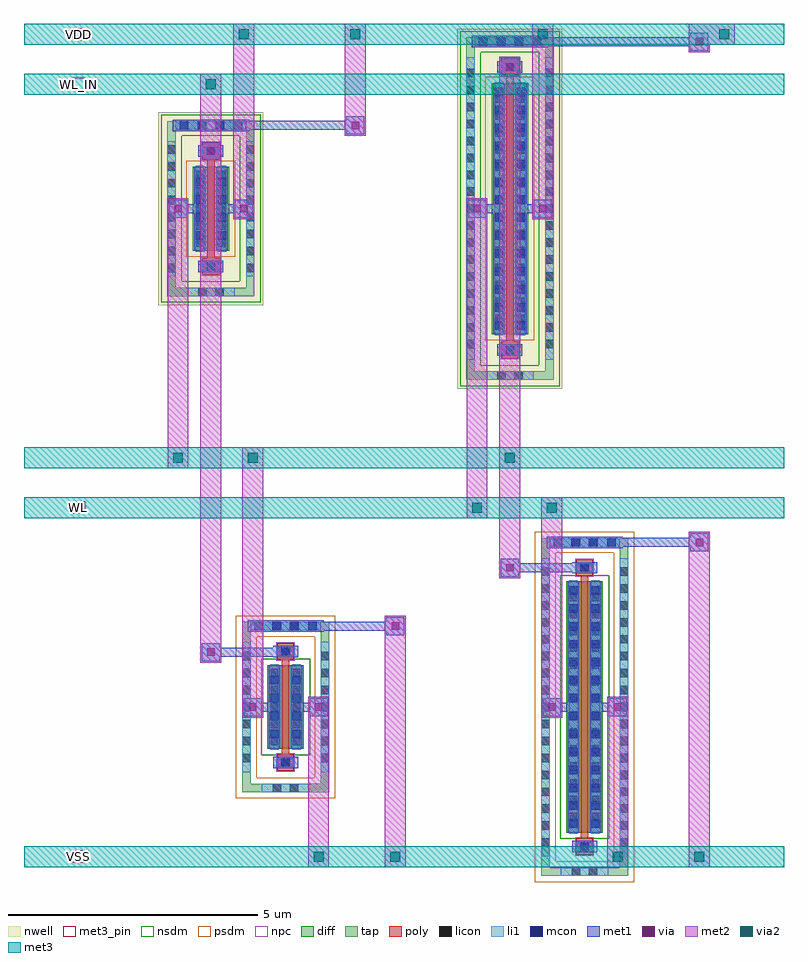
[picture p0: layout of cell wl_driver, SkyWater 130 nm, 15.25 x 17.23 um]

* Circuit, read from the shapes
.subckt wl_driver VDD VSS WL WL_IN
XM1 VSS WL_IN n1 VSS sky130_fd_pr__nfet_01v8 w=1.68 l=0.15
XM2 VSS n1 WL VSS sky130_fd_pr__nfet_01v8 w=5.04 l=0.15
XM3 VDD WL_IN n1 VDD sky130_fd_pr__pfet_01v8 w=1.68 l=0.15
XM4 VDD n1 WL VDD sky130_fd_pr__pfet_01v8 w=5.04 l=0.15
.ends

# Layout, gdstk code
import gdstk
lib = gdstk.Library(unit=1e-6, precision=1e-09)
def R(c, l, rs):  # rectangles x0, y0, x1, y1
    for r in rs: c.add(gdstk.rectangle(r[:2], r[2:], *l))
def A(c, l, x, y, w, h, nx, ny, dx, dy):  # array of equal rectangles
    R(c, l, [(x+i*dx, y+j*dy, x+i*dx+w, y+j*dy+h) for i in range(nx) for j in range(ny)])
nwell = (64, 20)
diff = (65, 20)
tap = (65, 44)
poly = (66, 20)
licon = (66, 44)
li1 = (67, 20)
mcon = (67, 44)
met1 = (68, 20)
via = (68, 44)
met2 = (69, 20)
via2 = (69, 44)
met3_pin = (70, 16)
met3 = (70, 20)
nsdm = (93, 44)
psdm = (94, 20)
npc = (95, 20)

wl_driver = lib.new_cell('wl_driver')
R(wl_driver, nwell, [(6.445,-8.615,8.555,-1.385), (0.445,-6.935,2.555,-3.065)])
R(wl_driver, diff, [(8.635,-17.52,9.365,-12.48), (2.635,-15.84,3.365,-14.16), (7.135,-7.52,7.865,-2.48), (1.135,-5.84,1.865,-4.16)])
R(wl_driver, tap, [(8.125,-18.39,9.875,-18.22), (8.125,-18.22,8.295,-11.78), (9.705,-18.22,9.875,-11.78), (2.125,-16.71,3.875,-16.54), (2.125,-16.54,2.295,-13.46), (3.705,-16.54,3.875,-13.46), (2.125,-13.46,3.875,-13.29), (8.125,-11.78,9.875,-11.61), (6.625,-8.435,8.375,-8.265), (6.625,-8.265,6.795,-1.735), (8.205,-8.265,8.375,-1.735), (0.625,-6.755,2.375,-6.585), (0.625,-6.585,0.795,-3.415), (2.205,-6.585,2.375,-3.415), (0.625,-3.415,2.375,-3.245), (6.625,-1.735,8.375,-1.565)])
R(wl_driver, poly, [(8.835,-17.96,9.165,-17.63), (8.925,-17.63,9.075,-12.37), (2.835,-16.28,3.165,-15.95), (2.925,-15.95,3.075,-14.05), (2.835,-14.05,3.165,-13.72), (8.835,-12.37,9.165,-12.04), (7.335,-8.005,7.665,-7.675), (7.425,-7.675,7.575,-2.325), (1.335,-6.325,1.665,-5.995), (1.425,-5.995,1.575,-4.005), (1.335,-4.005,1.665,-3.675), (7.335,-2.325,7.665,-1.995)])
A(wl_driver, licon, 8.125, -17.805, 0.17, 0.17, 1, 17, 0, 0.34)
A(wl_driver, licon, 9.705, -17.805, 0.17, 0.17, 1, 17, 0, 0.34)
A(wl_driver, licon, 8.695, -17.295, 0.17, 0.17, 1, 14, 0, 0.34)
A(wl_driver, licon, 9.135, -17.295, 0.17, 0.17, 1, 14, 0, 0.34)
A(wl_driver, licon, 2.125, -16.105, 0.17, 0.17, 1, 7, 0, 0.34)
A(wl_driver, licon, 3.705, -16.105, 0.17, 0.17, 1, 7, 0, 0.34)
A(wl_driver, licon, 2.695, -15.765, 0.17, 0.17, 1, 5, 0, 0.34)
A(wl_driver, licon, 3.135, -15.765, 0.17, 0.17, 1, 5, 0, 0.34)
A(wl_driver, licon, 6.625, -7.805, 0.17, 0.17, 1, 17, 0, 0.34)
A(wl_driver, licon, 8.205, -7.805, 0.17, 0.17, 1, 17, 0, 0.34)
A(wl_driver, licon, 7.195, -7.295, 0.17, 0.17, 1, 14, 0, 0.34)
A(wl_driver, licon, 7.635, -7.295, 0.17, 0.17, 1, 14, 0, 0.34)
A(wl_driver, licon, 0.625, -6.275, 0.17, 0.17, 1, 8, 0, 0.34)
A(wl_driver, licon, 2.205, -6.275, 0.17, 0.17, 1, 8, 0, 0.34)
A(wl_driver, licon, 1.195, -5.765, 0.17, 0.17, 1, 5, 0, 0.34)
A(wl_driver, licon, 1.635, -5.765, 0.17, 0.17, 1, 5, 0, 0.34)
R(wl_driver, licon, [(8.745,-18.39,8.915,-18.22), (9.085,-18.39,9.255,-18.22), (8.915,-17.88,9.085,-17.71), (2.745,-16.71,2.915,-16.54), (3.085,-16.71,3.255,-16.54), (2.915,-16.2,3.085,-16.03), (2.915,-13.97,3.085,-13.8), (2.745,-13.46,2.915,-13.29), (3.085,-13.46,3.255,-13.29), (8.915,-12.29,9.085,-12.12), (8.745,-11.78,8.915,-11.61), (9.085,-11.78,9.255,-11.61), (7.245,-8.435,7.415,-8.265), (7.585,-8.435,7.755,-8.265), (7.415,-7.925,7.585,-7.755), (1.245,-6.755,1.415,-6.585), (1.585,-6.755,1.755,-6.585), (1.415,-6.245,1.585,-6.075), (1.415,-3.925,1.585,-3.755), (1.245,-3.415,1.415,-3.245), (1.585,-3.415,1.755,-3.245), (7.415,-2.245,7.585,-2.075), (7.245,-1.735,7.415,-1.565), (7.585,-1.735,7.755,-1.565)])
R(wl_driver, li1, [(8.525,-18.39,9.475,-18.22), (8.125,-17.99,8.295,-12.01), (9.705,-17.99,9.875,-12.01), (8.835,-17.88,9.165,-17.71), (8.695,-17.54,8.865,-12.46), (9.135,-17.54,9.305,-12.46), (2.525,-16.71,3.475,-16.54), (2.125,-16.31,2.295,-13.69), (3.705,-16.31,3.875,-13.69), (2.835,-16.2,3.165,-16.03), (2.695,-15.86,2.865,-14.14), (3.135,-15.86,3.305,-14.14), (2.835,-13.97,3.165,-13.8), (2.295,-13.46,3.705,-13.29), (8.835,-12.29,9.165,-12.12), (8.295,-11.78,9.705,-11.61), (7.025,-8.435,7.975,-8.265), (6.625,-8.035,6.795,-1.965), (8.205,-8.035,8.375,-1.965), (7.335,-7.925,7.665,-7.755), (7.195,-7.54,7.365,-2.46), (7.635,-7.54,7.805,-2.46), (1.025,-6.755,1.975,-6.585), (0.625,-6.355,0.795,-3.645), (2.205,-6.355,2.375,-3.645), (1.335,-6.245,1.665,-6.075), (1.195,-5.86,1.365,-4.14), (1.635,-5.86,1.805,-4.14), (1.335,-3.925,1.665,-3.755), (0.795,-3.415,2.205,-3.245), (7.335,-2.245,7.665,-2.075), (6.795,-1.735,8.205,-1.565)])
A(wl_driver, mcon, 8.695, -17.425, 0.17, 0.17, 1, 14, 0, 0.36)
A(wl_driver, mcon, 9.135, -17.425, 0.17, 0.17, 1, 14, 0, 0.36)
A(wl_driver, mcon, 2.695, -15.625, 0.17, 0.17, 1, 4, 0, 0.36)
A(wl_driver, mcon, 3.135, -15.625, 0.17, 0.17, 1, 4, 0, 0.36)
A(wl_driver, mcon, 2.375, -13.46, 0.17, 0.17, 4, 1, 0.36, 0)
A(wl_driver, mcon, 8.375, -11.78, 0.17, 0.17, 4, 1, 0.36, 0)
A(wl_driver, mcon, 7.195, -7.425, 0.17, 0.17, 1, 14, 0, 0.36)
A(wl_driver, mcon, 7.635, -7.425, 0.17, 0.17, 1, 14, 0, 0.36)
A(wl_driver, mcon, 1.195, -5.625, 0.17, 0.17, 1, 4, 0, 0.36)
A(wl_driver, mcon, 1.635, -5.625, 0.17, 0.17, 1, 4, 0, 0.36)
A(wl_driver, mcon, 0.875, -3.415, 0.17, 0.17, 4, 1, 0.36, 0)
A(wl_driver, mcon, 6.875, -1.735, 0.17, 0.17, 4, 1, 0.36, 0)
R(wl_driver, mcon, [(8.915,-17.88,9.085,-17.71), (2.915,-16.2,3.085,-16.03), (2.915,-13.97,3.085,-13.8), (8.915,-12.29,9.085,-12.12), (7.415,-7.925,7.585,-7.755), (1.415,-6.245,1.585,-6.075), (1.415,-3.925,1.585,-3.755), (7.415,-2.245,7.585,-2.075)])
R(wl_driver, met1, [(8.75,-17.91,9.25,-17.68), (8.665,-17.52,8.895,-15.09), (9.105,-17.52,9.335,-15.09), (2.75,-16.23,3.25,-16), (2.665,-15.84,2.895,-15.09), (3.105,-15.84,3.335,-15.09), (2.16,-15.18,2.52,-15.09), (3.48,-15.18,3.84,-15.09), (8.16,-15.18,8.52,-15.09), (9.48,-15.18,9.84,-15.09), (2.16,-15.09,2.895,-14.91), (3.105,-15.09,3.84,-14.91), (8.16,-15.09,8.895,-14.91), (9.105,-15.09,9.84,-14.91), (2.16,-14.91,2.52,-14.82), (2.665,-14.91,2.895,-14.16), (3.105,-14.91,3.335,-14.16), (3.48,-14.91,3.84,-14.82), (8.16,-14.91,8.52,-14.82), (8.665,-14.91,8.895,-12.48), (9.105,-14.91,9.335,-12.48), (9.48,-14.91,9.84,-14.82), (1.32,-14.08,1.68,-13.99), (2.75,-14,3.25,-13.99), (1.32,-13.99,3.25,-13.81), (1.32,-13.81,1.68,-13.72), (2.75,-13.81,3.25,-13.77), (5.02,-13.555,5.38,-13.465), (2.235,-13.49,3.765,-13.465), (2.235,-13.465,5.38,-13.285), (2.235,-13.285,3.765,-13.26), (5.02,-13.285,5.38,-13.195), (7.32,-12.385,7.68,-12.295), (8.75,-12.32,9.25,-12.295), (7.32,-12.295,9.25,-12.115), (7.32,-12.115,7.68,-12.025), (8.75,-12.115,9.25,-12.09), (11.12,-11.875,11.48,-11.785), (8.235,-11.81,9.765,-11.785), (8.235,-11.785,11.48,-11.605), (8.235,-11.605,9.765,-11.58), (11.12,-11.605,11.48,-11.515), (7.25,-7.955,7.75,-7.725), (7.165,-7.52,7.395,-5.09), (7.605,-7.52,7.835,-5.09), (1.25,-6.275,1.75,-6.045), (1.165,-5.84,1.395,-5.09), (1.605,-5.84,1.835,-5.09), (0.66,-5.18,1.02,-5.09), (1.98,-5.18,2.34,-5.09), (6.66,-5.18,7.02,-5.09), (7.98,-5.18,8.34,-5.09), (0.66,-5.09,1.395,-4.91), (1.605,-5.09,2.34,-4.91), (6.66,-5.09,7.395,-4.91), (7.605,-5.09,8.34,-4.91), (0.66,-4.91,1.02,-4.82), (1.165,-4.91,1.395,-4.16), (1.605,-4.91,1.835,-4.16), (1.98,-4.91,2.34,-4.82), (6.66,-4.91,7.02,-4.82), (7.165,-4.91,7.395,-2.48), (7.605,-4.91,7.835,-2.48), (7.98,-4.91,8.34,-4.82), (1.32,-4.02,1.68,-3.955), (1.25,-3.955,1.75,-3.725), (1.32,-3.725,1.68,-3.66), (4.22,-3.51,4.58,-3.42), (0.735,-3.445,2.265,-3.42), (0.735,-3.42,4.58,-3.24), (0.735,-3.24,2.265,-3.215), (4.22,-3.24,4.58,-3.15), (7.32,-2.34,7.68,-2.275), (7.25,-2.275,7.75,-2.045), (7.32,-2.045,7.68,-1.98), (11.12,-1.83,11.48,-1.74), (6.735,-1.765,8.265,-1.74), (6.735,-1.74,11.48,-1.56), (6.735,-1.56,8.265,-1.535), (11.12,-1.56,11.48,-1.47)])
R(wl_driver, via, [(2.265,-15.075,2.415,-14.925), (3.585,-15.075,3.735,-14.925), (8.265,-15.075,8.415,-14.925), (9.585,-15.075,9.735,-14.925), (1.425,-13.975,1.575,-13.825), (5.125,-13.45,5.275,-13.3), (7.425,-12.28,7.575,-12.13), (11.225,-11.77,11.375,-11.62), (0.765,-5.075,0.915,-4.925), (2.085,-5.075,2.235,-4.925), (6.765,-5.075,6.915,-4.925), (8.085,-5.075,8.235,-4.925), (1.425,-3.915,1.575,-3.765), (4.325,-3.405,4.475,-3.255), (7.425,-2.235,7.575,-2.085), (11.225,-1.725,11.375,-1.575)])
R(wl_driver, met2, [(3.45,-18.21,3.87,-14.79), (4.99,-18.21,5.41,-13.165), (9.45,-18.21,9.87,-14.79), (11.09,-18.21,11.51,-11.485), (2.13,-15.21,2.55,-9.79), (8.13,-15.21,8.55,-10.79), (1.29,-14.11,1.71,-2.29), (7.29,-12.415,7.71,-1.95), (6.63,-11.21,7.05,-4.79), (0.63,-10.21,1.05,-4.79), (1.95,-5.21,2.37,-1.29), (7.95,-5.21,8.37,-1.29), (4.19,-3.54,4.61,-1.29), (11.09,-1.86,11.51,-1.71), (11.09,-1.71,12.01,-1.29)])
R(wl_driver, via2, [(3.56,-18.1,3.76,-17.9), (5.1,-18.1,5.3,-17.9), (9.56,-18.1,9.76,-17.9), (11.2,-18.1,11.4,-17.9), (6.74,-11.1,6.94,-10.9), (8.24,-11.1,8.44,-10.9), (0.74,-10.1,0.94,-9.9), (2.24,-10.1,2.44,-9.9), (7.4,-10.1,7.6,-9.9), (1.4,-2.6,1.6,-2.4), (2.06,-1.6,2.26,-1.4), (4.3,-1.6,4.5,-1.4), (8.06,-1.6,8.26,-1.4), (11.7,-1.6,11.9,-1.4)])
R(wl_driver, met3_pin, [(-1.275,-18.125,-1.025,-17.875), (-1.275,-11.125,-1.025,-10.875), (-1.275,-2.625,-1.025,-2.375), (-1.275,-1.625,-1.025,-1.375)])
R(wl_driver, met3, [(-2.25,-18.21,13,-17.79), (-2.25,-11.21,13,-10.79), (-2.25,-10.21,13,-9.79), (-2.25,-2.71,13,-2.29), (-2.25,-1.71,13,-1.29)])
R(wl_driver, nsdm, [(8.51,-17.645,9.49,-12.355), (2.51,-15.965,3.49,-14.035), (6.5,-8.56,8.5,-8.14), (6.5,-8.14,6.92,-1.86), (8.08,-8.14,8.5,-1.86), (0.5,-6.88,2.5,-6.46), (0.5,-6.46,0.92,-3.54), (2.08,-6.46,2.5,-3.54), (0.5,-3.54,2.5,-3.12), (6.5,-1.86,8.5,-1.44)])
R(wl_driver, psdm, [(8,-18.515,10,-18.095), (8,-18.095,8.42,-11.905), (9.58,-18.095,10,-11.905), (2,-16.835,4,-16.415), (2,-16.415,2.42,-13.585), (3.58,-16.415,4,-13.585), (2,-13.585,4,-13.165), (8,-11.905,10,-11.485), (7.01,-7.645,7.99,-2.355), (1.01,-5.965,1.99,-4.035)])
R(wl_driver, npc, [(8.815,-17.98,9.185,-17.61), (2.815,-16.3,3.185,-15.93), (2.815,-14.07,3.185,-13.7), (8.815,-12.39,9.185,-12.02), (7.315,-8.025,7.685,-7.655), (1.315,-6.345,1.685,-5.975), (1.315,-4.025,1.685,-3.655), (7.315,-2.345,7.685,-1.975)])
wl_driver.add(gdstk.Label('VDD', (-1.15,-1.5), layer=70, texttype=5))
wl_driver.add(gdstk.Label('VSS', (-1.15,-18), layer=70, texttype=5))
wl_driver.add(gdstk.Label('WL_IN', (-1.15,-2.5), layer=70, texttype=5))
wl_driver.add(gdstk.Label('WL', (-1.15,-11), layer=70, texttype=5))

lib.write_gds('wl_driver.gds')
